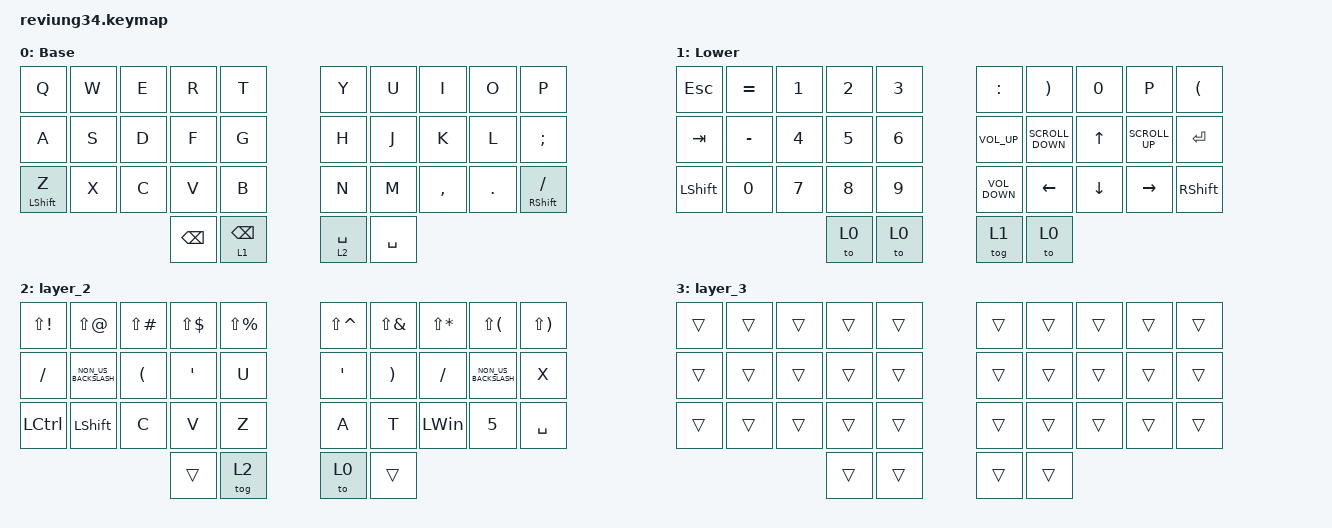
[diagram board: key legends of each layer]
/*
 * Copyright (c) 2023 The ZMK Contributors
 *
 * SPDX-License-Identifier: MIT
 */

#include <behaviors.dtsi>
#include <dt-bindings/zmk/keys.h>

/ {
    chosen {
        // 34 keys.

        zmk,matrix-transform = &dual_1u_transform;

        // 33 keys. Center two thumb keys replaced by a single 2u key. Remember to adjust your
        // keymap accordingly!
        // zmk,matrix-transform = &single_2u_transform;
    };
};

/ {
    keymap {
        compatible = "zmk,keymap";

        base {
            display-name = "Base";
            bindings = <
&kp Q             &kp W  &kp E  &kp R          &kp T         &kp Y        &kp U      &kp I      &kp O    &kp P
&kp A             &kp S  &kp D  &kp F          &kp G         &kp H        &kp J      &kp K      &kp L    &kp SEMI
&mt LEFT_SHIFT Z  &kp X  &kp C  &kp V          &kp B         &kp N        &kp M      &kp COMMA  &kp DOT  &mt RIGHT_SHIFT SLASH
                                &kp BACKSPACE  &lt 1 BSPC    &lt 2 SPACE  &kp SPACE
            >;
        };

        lower {
            display-name = "Lower";
            bindings = <
&kp ESCAPE      &kp EQUAL  &kp NUMBER_1  &kp NUMBER_2  &kp NUMBER_3    &kp COLON          &kp RIGHT_PARENTHESIS  &kp N0          &kp P            &kp LEFT_PARENTHESIS
&kp TAB         &kp MINUS  &kp NUMBER_4  &kp N5        &kp NUMBER_6    &kp C_VOLUME_UP    &kp K_SCROLL_DOWN      &kp UP_ARROW    &kp K_SCROLL_UP  &kp ENTER
&kp LEFT_SHIFT  &kp N0     &kp N7        &kp N8        &kp N9          &kp C_VOLUME_DOWN  &kp LEFT_ARROW         &kp DOWN_ARROW  &kp RIGHT_ARROW  &kp RIGHT_SHIFT
                                         &to 0         &to 0           &tog 1             &to 0
            >;
        };

        layer_2 {
            bindings = <
&kp LS(EXCL)      &kp LS(AT)            &kp LS(POUND)         &kp LS(DLLR)  &kp LS(PRCNT)    &kp LS(CARET)  &kp LS(AMPS)           &kp LS(STAR)  &kp LS(LPAR)          &kp LS(RPAR)
&kp SLASH         &kp NON_US_BACKSLASH  &kp LEFT_PARENTHESIS  &kp SQT       &kp U            &kp SQT        &kp RIGHT_PARENTHESIS  &kp SLASH     &kp NON_US_BACKSLASH  &kp X
&kp LEFT_CONTROL  &kp LEFT_SHIFT        &kp C                 &kp V         &kp Z            &kp A          &kp T                  &kp LEFT_WIN  &kp N5                &kp SPACE
                                                              &trans        &tog 2           &to 0          &trans
            >;
        };

        layer_3 {
            bindings = <
&trans  &trans  &trans  &trans  &trans    &trans  &trans  &trans  &trans  &trans
&trans  &trans  &trans  &trans  &trans    &trans  &trans  &trans  &trans  &trans
&trans  &trans  &trans  &trans  &trans    &trans  &trans  &trans  &trans  &trans
                        &trans  &trans    &trans  &trans
            >;
        };
    };
};
